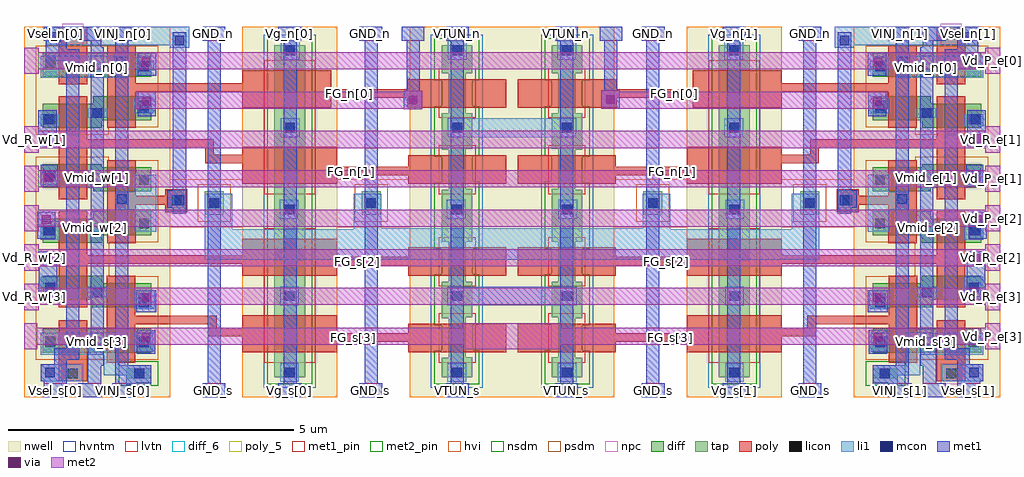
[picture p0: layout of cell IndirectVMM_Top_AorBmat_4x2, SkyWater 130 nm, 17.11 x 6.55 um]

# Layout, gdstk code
import gdstk
lib = gdstk.Library(unit=1e-6, precision=1e-09)
def R(c, l, rs):  # rectangles x0, y0, x1, y1
    for r in rs: c.add(gdstk.rectangle(r[:2], r[2:], *l))
def A(c, l, x, y, w, h, nx, ny, dx, dy):  # array of equal rectangles
    R(c, l, [(x+i*dx, y+j*dy, x+i*dx+w, y+j*dy+h) for i in range(nx) for j in range(ny)])
nwell = (64, 20)
diff_6 = (65, 6)
diff = (65, 20)
tap = (65, 44)
poly_5 = (66, 5)
poly = (66, 20)
licon = (66, 44)
li1 = (67, 20)
mcon = (67, 44)
met1_pin = (68, 16)
met1 = (68, 20)
via = (68, 44)
met2_pin = (69, 16)
met2 = (69, 20)
hvi = (75, 20)
nsdm = (93, 44)
psdm = (94, 20)
npc = (95, 20)
hvntm = (125, 20)
lvtn = (125, 44)

indirectvmm_top_aorbmat_ = lib.new_cell('IndirectVMM_Top_AorBmat_4x2')
R(indirectvmm_top_aorbmat_, nwell, [(-0.12,0.15,2.44,6.65), (3.71,0.15,5.37,6.65), (6.64,0.15,10.23,6.65), (11.5,0.15,13.16,6.65), (14.43,0.15,16.99,6.65)])
R(indirectvmm_top_aorbmat_, diff_6, [(1.09,1.05,1.23,1.2), (15.64,1.05,15.78,1.2), (1.07,3.05,1.21,3.2), (15.66,3.05,15.8,3.2), (1.09,3.92,1.23,4.07), (15.64,3.92,15.78,4.07), (1.09,5.85,1.23,6), (15.64,5.85,15.78,6)])
R(indirectvmm_top_aorbmat_, diff, [(0.21,0.93,2.11,1.35), (14.76,0.93,16.66,1.35), (1.08,1.73,2.11,1.86), (14.76,1.73,15.79,1.86), (0.21,1.86,2.11,2.15), (14.76,1.86,16.66,2.15), (0.21,2.15,1.25,2.28), (15.62,2.15,16.66,2.28), (0.21,2.86,1.25,2.99), (15.62,2.86,16.66,2.99), (0.21,2.99,2.11,3.28), (14.76,2.99,16.66,3.28), (1.09,3.28,2.11,3.41), (14.76,3.28,15.78,3.41), (1.09,3.76,2.11,3.82), (14.76,3.76,15.78,3.82), (0.21,3.82,2.11,4.18), (14.76,3.82,16.66,4.18), (0.21,4.18,1.24,4.24), (15.63,4.18,16.66,4.24), (0.21,4.88,1.24,5.01), (15.63,4.88,16.66,5.01), (0.21,5.01,2.11,5.3), (14.76,5.01,16.66,5.3), (1.09,5.3,2.11,5.43), (14.76,5.3,15.78,5.43), (0.21,5.77,2.11,6.19), (14.76,5.77,16.66,6.19)])
R(indirectvmm_top_aorbmat_, tap, [(1.67,0.48,2.11,0.66), (14.76,0.48,15.2,0.66), (4.27,0.5,4.81,6.32), (7.2,0.5,7.74,0.84), (9.13,0.5,9.67,0.84), (12.06,0.5,12.6,6.32), (7.33,0.84,7.74,0.85), (9.13,0.84,9.54,0.85), (7.33,0.85,7.62,1.54), (9.25,0.85,9.54,1.54), (7.2,1.54,7.62,1.55), (9.25,1.54,9.67,1.55), (7.2,1.55,7.74,2.18), (9.13,1.55,9.67,2.18), (7.33,2.18,7.62,2.88), (9.25,2.18,9.54,2.88), (7.2,2.88,7.74,3.79), (9.13,2.88,9.67,3.79), (3.05,3.35,3.38,3.76), (5.8,3.35,6.13,3.76), (10.74,3.35,11.07,3.76), (13.49,3.35,13.82,3.76), (7.33,3.79,7.74,3.81), (9.13,3.79,9.54,3.81), (7.33,3.81,7.62,4.49), (9.25,3.81,9.54,4.49), (7.2,4.49,7.62,4.51), (9.25,4.49,9.67,4.51), (7.2,4.51,7.74,5.13), (9.13,4.51,9.67,5.13), (7.33,5.13,7.62,5.83), (9.25,5.13,9.54,5.83), (7.2,5.83,7.74,6.32), (9.13,5.83,9.67,6.32)])
R(indirectvmm_top_aorbmat_, poly_5, [(5.58,1.12,5.72,1.27), (11.15,1.12,11.29,1.27), (5.65,2.46,5.79,2.61), (11.08,2.46,11.22,2.61), (5.55,4.04,5.69,4.19), (11.18,4.04,11.32,4.19), (5.52,5.4,5.66,5.55), (11.21,5.4,11.35,5.55)])
R(indirectvmm_top_aorbmat_, poly, [(0.49,0.43,0.99,1.5), (15.88,0.43,16.38,1.5), (1.33,0.76,1.83,1.43), (15.04,0.76,15.54,1.43), (3.71,0.94,5.37,1.12), (6.62,0.94,8.33,1.12), (8.54,0.94,10.25,1.12), (11.5,0.94,13.16,1.12), (3.71,1.12,8.33,1.22), (8.54,1.12,13.16,1.22), (3.1,1.22,8.33,1.27), (8.54,1.22,13.77,1.27), (3.1,1.27,5.37,1.37), (6.62,1.27,8.33,1.44), (8.54,1.27,10.25,1.44), (11.5,1.27,13.77,1.37), (3.1,1.37,3.26,1.43), (3.71,1.37,5.37,1.59), (11.5,1.37,13.16,1.59), (13.61,1.37,13.77,1.43), (1.33,1.43,3.26,1.58), (13.61,1.43,15.54,1.58), (1.33,1.58,1.83,2.28), (15.04,1.58,15.54,2.28), (0.49,1.73,0.99,2.49), (15.88,1.73,16.38,2.49), (3.71,2.28,5.37,2.46), (6.62,2.28,8.33,2.46), (8.54,2.28,10.25,2.46), (11.5,2.28,13.16,2.46), (3.71,2.46,8.33,2.49), (8.54,2.46,13.16,2.49), (0.49,2.49,8.33,2.61), (8.54,2.49,16.38,2.61), (0.49,2.61,5.37,2.64), (6.62,2.61,8.33,2.78), (8.54,2.61,10.25,2.78), (11.5,2.61,16.38,2.64), (0.49,2.64,0.99,3.41), (3.71,2.64,5.37,2.93), (11.5,2.64,13.16,2.93), (15.88,2.64,16.38,3.41), (1.34,2.85,1.84,3.53), (15.03,2.85,15.53,3.53), (2.36,3.39,2.74,3.53), (14.13,3.39,14.51,3.53), (1.34,3.53,2.74,3.68), (14.13,3.53,15.53,3.68), (0.49,3.62,0.99,4.52), (15.88,3.62,16.38,4.52), (1.34,3.68,1.84,4.31), (2.36,3.68,2.74,3.8), (14.13,3.68,14.51,3.8), (15.03,3.68,15.53,4.31), (3.71,3.89,5.37,4.04), (6.62,3.89,8.33,4.04), (8.54,3.89,10.25,4.04), (11.5,3.89,13.16,4.04), (3.71,4.04,8.33,4.19), (8.54,4.04,13.16,4.19), (3.71,4.19,5.37,4.25), (6.62,4.19,8.33,4.39), (8.54,4.19,10.25,4.39), (11.5,4.19,13.16,4.25), (3.06,4.25,5.37,4.4), (11.5,4.25,13.81,4.4), (3.06,4.4,3.21,4.52), (3.71,4.4,5.37,4.54), (11.5,4.4,13.16,4.54), (13.66,4.4,13.81,4.52), (0.49,4.52,3.21,4.67), (13.66,4.52,16.38,4.67), (0.49,4.67,0.99,5.43), (15.88,4.67,16.38,5.43), (1.34,4.88,1.84,5.51), (15.03,4.88,15.53,5.51), (3.71,5.23,5.27,5.4), (6.6,5.23,8.33,5.4), (8.54,5.23,10.27,5.4), (11.6,5.23,13.16,5.4), (3.71,5.4,8.33,5.51), (8.54,5.4,13.16,5.51), (1.34,5.51,8.33,5.55), (8.54,5.51,15.53,5.55), (1.34,5.55,5.27,5.66), (6.6,5.55,8.33,5.73), (8.54,5.55,10.27,5.73), (11.6,5.55,15.53,5.66), (0.49,5.64,0.99,6.65), (15.88,5.64,16.38,6.65), (1.34,5.66,1.84,6.32), (3.71,5.66,5.27,5.88), (11.6,5.66,13.16,5.88), (15.03,5.66,15.53,6.32)])
R(indirectvmm_top_aorbmat_, licon, [(0.65,0.48,0.82,0.65), (1.815,0.48,1.985,0.65), (14.885,0.48,15.055,0.65), (16.05,0.48,16.22,0.65), (4.45,0.5,4.62,0.67), (7.38,0.5,7.55,0.67), (9.32,0.5,9.49,0.67), (12.25,0.5,12.42,0.67), (1.895,1.03,2.065,1.2), (14.805,1.03,14.975,1.2), (0.255,1.04,0.425,1.21), (16.445,1.04,16.615,1.21), (1.895,1.8,2.065,1.97), (14.805,1.8,14.975,1.97), (4.45,1.84,4.62,2.01), (7.38,1.84,7.55,2.01), (9.32,1.84,9.49,2.01), (12.25,1.84,12.42,2.01), (1.075,1.9,1.245,2.07), (15.625,1.9,15.795,2.07), (0.255,1.99,0.425,2.16), (16.445,1.99,16.615,2.16), (0.255,2.99,0.425,3.16), (16.445,2.99,16.615,3.16), (1.9,3.11,2.07,3.28), (14.8,3.11,14.97,3.28), (4.44,3.36,4.61,3.53), (7.37,3.36,7.54,3.53), (9.33,3.36,9.5,3.53), (12.26,3.36,12.43,3.53), (3.13,3.47,3.3,3.64), (5.88,3.47,6.05,3.64), (10.82,3.47,10.99,3.64), (13.57,3.47,13.74,3.64), (2.47,3.52,2.64,3.69), (14.23,3.52,14.4,3.69), (1.9,3.88,2.07,4.05), (14.8,3.88,14.97,4.05), (0.255,3.96,0.425,4.13), (16.445,3.96,16.615,4.13), (4.46,4.79,4.63,4.96), (7.39,4.79,7.56,4.96), (9.31,4.79,9.48,4.96), (12.24,4.79,12.41,4.96), (0.255,4.94,0.425,5.11), (16.445,4.94,16.615,5.11), (1.075,5.05,1.245,5.22), (15.625,5.05,15.795,5.22), (1.9,5.13,2.07,5.3), (14.8,5.13,14.97,5.3), (1.9,5.87,2.07,6.04), (14.8,5.87,14.97,6.04), (0.255,5.93,0.425,6.1), (16.445,5.93,16.615,6.1), (4.46,6.15,4.63,6.32), (7.39,6.15,7.56,6.32), (9.31,6.15,9.48,6.32), (12.24,6.15,12.41,6.32), (0.65,6.43,0.82,6.6), (16.05,6.43,16.22,6.6)])
R(indirectvmm_top_aorbmat_, li1, [(1.67,0.37,2.11,0.54), (14.76,0.37,15.2,0.54), (4.37,0.42,4.7,0.75), (7.3,0.42,7.63,0.75), (9.24,0.42,9.57,0.75), (12.17,0.42,12.5,0.75), (0.17,0.43,0.9,0.73), (15.97,0.43,16.7,0.73), (1.28,0.54,2.11,0.71), (14.76,0.54,15.59,0.71), (1.28,0.71,1.53,0.9), (15.34,0.71,15.59,0.9), (0.17,0.9,1.53,1.28), (15.34,0.9,16.7,1.28), (1.81,0.95,2.15,1.28), (14.72,0.95,15.06,1.28), (1.28,1.28,1.53,1.29), (15.34,1.28,15.59,1.29), (1.81,1.7,2.16,1.73), (14.71,1.7,15.06,1.73), (1.81,1.73,2.17,2.03), (14.7,1.73,15.06,2.03), (4.37,1.76,4.7,2.09), (7.3,1.76,9.57,2.09), (12.17,1.76,12.5,2.09), (0.99,1.9,1.33,2.09), (15.54,1.9,15.88,2.09), (0.17,1.91,0.51,2.26), (16.36,1.91,16.7,2.26), (3.05,2.56,13.82,3.1), (0.17,2.91,0.51,3.24), (16.36,2.91,16.7,3.24), (1.82,3.05,2.2,3.44), (14.67,3.05,15.05,3.44), (3.05,3.1,3.53,3.72), (5.66,3.1,11.21,3.11), (13.34,3.1,13.82,3.72), (5.66,3.11,6.14,3.72), (10.73,3.11,11.21,3.72), (4.36,3.28,4.69,3.61), (7.29,3.28,7.62,3.61), (9.25,3.28,9.58,3.61), (12.18,3.28,12.51,3.61), (2.39,3.4,2.72,3.78), (14.15,3.4,14.48,3.78), (1.48,3.44,2.2,3.75), (14.67,3.44,15.39,3.75), (1.82,3.75,2.2,4.05), (14.67,3.75,15.05,4.05), (0.17,3.88,0.51,4.13), (16.36,3.88,16.7,4.13), (4.38,4.71,4.71,5.04), (7.31,4.71,9.56,5.04), (12.16,4.71,12.49,5.04), (0.17,4.9,0.51,5.11), (16.36,4.9,16.7,5.11), (0.99,5.05,1.34,5.22), (15.53,5.05,15.88,5.22), (1.82,5.13,2.15,5.17), (14.72,5.13,15.05,5.17), (1.82,5.17,2.19,5.34), (14.68,5.17,15.05,5.34), (1.82,5.34,2.15,5.39), (14.72,5.34,15.05,5.39), (0.17,5.75,1.67,6.14), (15.2,5.75,16.7,6.14), (1.84,5.79,2.11,5.88), (14.76,5.79,15.03,5.88), (1.84,5.88,2.16,6.05), (14.71,5.88,15.03,6.05), (1.84,6.05,2.11,6.12), (14.76,6.05,15.03,6.12), (4.38,6.07,4.71,6.4), (7.31,6.07,7.64,6.4), (9.23,6.07,9.56,6.4), (12.16,6.07,12.49,6.4), (2.44,6.28,2.78,6.32), (14.09,6.28,14.43,6.32), (0.27,6.32,2.78,6.65), (14.09,6.32,16.6,6.65)])
R(indirectvmm_top_aorbmat_, mcon, [(1.815,0.48,1.985,0.65), (14.885,0.48,15.055,0.65), (0.25,0.5,0.42,0.67), (4.46,0.5,4.63,0.67), (7.39,0.5,7.56,0.67), (9.31,0.5,9.48,0.67), (12.24,0.5,12.41,0.67), (16.45,0.5,16.62,0.67), (1.895,1.04,2.065,1.21), (14.805,1.04,14.975,1.21), (1.895,1.73,2.065,1.9), (14.805,1.73,14.975,1.9), (4.46,1.84,4.63,2.01), (7.39,1.84,7.56,2.01), (9.31,1.84,9.48,2.01), (12.24,1.84,12.41,2.01), (1.08,1.9,1.25,2.07), (15.62,1.9,15.79,2.07), (0.255,1.99,0.425,2.16), (16.445,1.99,16.615,2.16), (0.23,2.99,0.4,3.16), (16.47,2.99,16.64,3.16), (4.46,3.36,4.63,3.53), (7.39,3.36,7.56,3.53), (9.31,3.36,9.48,3.53), (12.24,3.36,12.41,3.53), (3.13,3.47,3.3,3.64), (5.88,3.47,6.05,3.64), (10.82,3.47,10.99,3.64), (13.57,3.47,13.74,3.64), (2.52,3.52,2.69,3.69), (14.18,3.52,14.35,3.69), (1.51,3.54,1.68,3.71), (15.19,3.54,15.36,3.71), (0.24,3.95,0.41,4.12), (16.46,3.95,16.63,4.12), (4.46,4.79,4.63,4.96), (7.39,4.79,7.56,4.96), (9.31,4.79,9.48,4.96), (12.24,4.79,12.41,4.96), (0.225,4.94,0.395,5.11), (16.475,4.94,16.645,5.11), (1.08,5.05,1.25,5.22), (15.62,5.05,15.79,5.22), (1.9,5.18,2.07,5.35), (14.8,5.18,14.97,5.35), (1.9,5.87,2.07,6.04), (14.8,5.87,14.97,6.04), (1.5,5.95,1.67,6.12), (15.2,5.95,15.37,6.12), (4.46,6.15,4.63,6.32), (7.39,6.15,7.56,6.32), (9.31,6.15,9.48,6.32), (12.24,6.15,12.41,6.32), (2.52,6.32,2.69,6.49), (14.18,6.32,14.35,6.49), (0.36,6.38,0.53,6.55), (16.34,6.38,16.51,6.55)])
R(indirectvmm_top_aorbmat_, met1_pin, [(0.23,0.15,0.63,0.4), (0.23,0.15,0.63,0.4), (0.83,0.15,1.23,0.4), (0.83,0.15,1.23,0.4), (1.43,0.15,1.83,0.4), (1.43,0.15,1.83,0.4), (3.01,0.15,3.41,0.4), (4.34,0.15,4.74,0.4), (4.34,0.15,4.74,0.4), (5.76,0.15,6.16,0.4), (7.28,0.15,7.68,0.4), (9.19,0.15,9.59,0.4), (10.71,0.15,11.11,0.4), (12.13,0.15,12.53,0.4), (12.13,0.15,12.53,0.4), (13.46,0.15,13.86,0.4), (15.04,0.15,15.44,0.4), (15.04,0.15,15.44,0.4), (15.64,0.15,16.04,0.4), (15.64,0.15,16.04,0.4), (16.24,0.15,16.64,0.4), (16.24,0.15,16.64,0.4), (0.23,6.4,0.63,6.65), (0.23,6.4,0.63,6.65), (0.83,6.4,1.23,6.65), (0.83,6.4,1.23,6.65), (1.43,6.4,1.83,6.65), (1.43,6.4,1.83,6.65), (3.01,6.4,3.41,6.65), (4.34,6.4,4.74,6.65), (4.34,6.4,4.74,6.65), (5.76,6.4,6.16,6.65), (6.5,6.4,6.9,6.65), (7.28,6.4,7.68,6.65), (9.19,6.4,9.59,6.65), (9.97,6.4,10.37,6.65), (10.71,6.4,11.11,6.65), (12.13,6.4,12.53,6.65), (12.13,6.4,12.53,6.65), (13.46,6.4,13.86,6.65), (15.04,6.4,15.44,6.65), (15.04,6.4,15.44,6.65), (15.64,6.4,16.04,6.65), (15.64,6.4,16.04,6.65), (16.24,6.4,16.64,6.65), (16.24,6.4,16.64,6.65)])
A(indirectvmm_top_aorbmat_, met1, 0.23, 6.4, 0.4, 0.25, 3, 1, 0.6, 0)
A(indirectvmm_top_aorbmat_, met1, 15.04, 6.4, 0.4, 0.25, 3, 1, 0.6, 0)
R(indirectvmm_top_aorbmat_, met1, [(0.23,0.15,0.63,0.43), (0.83,0.15,1.23,0.4), (1.43,0.15,1.83,0.4), (3.01,0.15,3.41,0.4), (4.34,0.15,4.74,0.4), (5.76,0.15,6.16,0.4), (7.28,0.15,7.68,0.4), (9.19,0.15,9.59,0.4), (10.71,0.15,11.11,0.4), (12.13,0.15,12.53,0.4), (13.46,0.15,13.86,0.4), (15.04,0.15,15.44,0.4), (15.64,0.15,16.04,0.4), (16.24,0.15,16.64,0.43), (1,0.4,1.23,0.7), (1.48,0.4,2.11,0.71), (3.1,0.4,3.33,6.4), (4.43,0.4,4.66,6.4), (5.85,0.4,6.08,6.4), (7.36,0.4,7.59,6.4), (9.28,0.4,9.51,6.4), (10.79,0.4,11.02,6.4), (12.21,0.4,12.44,6.4), (13.54,0.4,13.77,6.4), (14.76,0.4,15.39,0.71), (15.64,0.4,15.87,0.7), (0.17,0.43,0.63,0.73), (16.24,0.43,16.7,0.73), (1,0.7,1.28,1.08), (15.59,0.7,15.87,1.08), (1.48,0.71,1.71,5.89), (15.16,0.71,15.39,5.89), (0.41,0.73,0.63,0.81), (16.24,0.73,16.46,0.81), (0.41,0.81,0.85,1.01), (16.02,0.81,16.46,1.01), (1.86,0.91,2.18,1.33), (14.69,0.91,15.01,1.33), (0.62,1.01,0.85,6.05), (16.02,1.01,16.25,6.05), (1.05,1.08,1.28,6.29), (15.59,1.08,15.82,6.29), (1.85,1.64,2.2,2.03), (14.67,1.64,15.02,2.03), (0.14,1.86,0.46,2.71), (16.41,1.86,16.73,2.71), (0.11,2.93,0.43,3.4), (16.44,2.93,16.76,3.4), (2.49,3.37,2.72,3.47), (14.15,3.37,14.38,3.47), (2.39,3.47,2.72,3.78), (14.15,3.47,14.48,3.78), (2.49,3.78,2.72,6.55), (14.15,3.78,14.38,6.55), (0.17,3.84,0.47,4.23), (16.4,3.84,16.7,4.23), (0.13,4.55,0.45,5.18), (16.42,4.55,16.74,5.18), (1.87,5.08,2.19,5.51), (14.68,5.08,15,5.51), (6.54,5.2,6.86,5.52), (10,5.21,10.32,5.53), (6.59,5.52,6.82,6.4), (10.05,5.53,10.28,6.4), (1.87,5.79,2.2,6.19), (14.67,5.79,15,6.19), (1.46,5.89,1.71,6.16), (15.16,5.89,15.41,6.16), (0.26,6.05,0.85,6.25), (16.02,6.05,16.61,6.25), (1.48,6.16,1.71,6.4), (15.16,6.16,15.39,6.4), (0.26,6.25,0.63,6.4), (16.24,6.25,16.61,6.4), (1.05,6.29,1.23,6.4), (15.64,6.29,15.82,6.4), (3.01,6.4,3.41,6.65), (4.34,6.4,4.74,6.65), (5.76,6.4,6.16,6.65), (6.5,6.4,6.9,6.65), (7.28,6.4,7.68,6.65), (9.19,6.4,9.59,6.65), (9.97,6.4,10.37,6.65), (10.71,6.4,11.11,6.65), (12.13,6.4,12.53,6.65), (13.46,6.4,13.86,6.65)])
R(indirectvmm_top_aorbmat_, via, [(1.945,1.125,2.095,1.275), (14.775,1.125,14.925,1.275), (1.965,1.825,2.115,1.975), (14.755,1.825,14.905,1.975), (0.225,2.505,0.375,2.655), (16.495,2.505,16.645,2.655), (0.195,3.195,0.345,3.345), (16.525,3.195,16.675,3.345), (0.235,3.925,0.385,4.075), (16.485,3.925,16.635,4.075), (0.215,4.615,0.365,4.765), (16.505,4.615,16.655,4.765), (1.955,5.265,2.105,5.415), (14.765,5.265,14.915,5.415), (6.625,5.285,6.775,5.435), (10.085,5.295,10.235,5.445), (1.945,5.955,2.095,6.105), (14.775,5.955,14.925,6.105)])
A(indirectvmm_top_aorbmat_, met2_pin, 16.73, 0.99, 0.26, 0.46, 1, 6, 0, 0.69)
A(indirectvmm_top_aorbmat_, met2_pin, -0.12, 1.68, 0.26, 0.46, 1, 5, 0, 0.69)
R(indirectvmm_top_aorbmat_, met2_pin, [(-0.12,0.99,0.11,1.45), (16.76,0.99,16.99,1.45), (-0.12,5.82,0.14,6.28), (16.73,5.82,16.99,6.28)])
A(indirectvmm_top_aorbmat_, met2, -0.12, 2.45, 17.11, 0.3, 1, 4, 0, 0.69)
R(indirectvmm_top_aorbmat_, met2, [(-0.12,0.99,0.11,1.07), (7.57,0.99,9.3,1.07), (16.73,0.99,16.99,1.07), (-0.12,1.07,16.99,1.37), (-0.12,1.37,0.11,1.45), (7.56,1.37,9.31,1.45), (16.73,1.37,16.99,1.45), (-0.12,1.68,0.14,1.77), (16.73,1.68,16.99,1.77), (-0.12,1.77,16.99,2.07), (-0.12,2.07,0.14,2.14), (16.73,2.07,16.99,2.14), (-0.12,2.37,0.14,2.45), (16.73,2.37,16.99,2.45), (-0.12,2.75,0.14,2.83), (16.73,2.75,16.99,2.83), (-0.12,3.06,0.14,3.14), (16.73,3.06,16.99,3.14), (-0.12,3.44,0.14,3.52), (16.73,3.44,16.99,3.52), (-0.12,3.75,0.14,3.83), (16.73,3.75,16.99,3.83), (-0.12,4.13,0.14,4.21), (16.73,4.13,16.99,4.21), (-0.12,4.44,0.14,4.52), (16.73,4.44,16.99,4.52), (-0.12,4.82,0.14,4.9), (16.73,4.82,16.99,4.9), (6.54,5.2,6.86,5.21), (1.84,5.21,6.86,5.51), (10,5.21,15.02,5.51), (6.54,5.51,6.86,5.52), (10,5.51,10.32,5.53), (-0.12,5.82,0.14,5.9), (16.73,5.82,16.99,5.9), (-0.12,5.9,16.99,6.2), (-0.12,6.2,0.14,6.28), (16.73,6.2,16.99,6.28)])
R(indirectvmm_top_aorbmat_, hvi, [(-0.12,0.15,2.44,3.135), (3.71,0.15,5.37,3.135), (6.64,0.15,10.23,3.135), (11.5,0.15,13.16,3.135), (14.43,0.15,16.99,3.135), (-0.12,3.135,16.99,3.975), (-0.12,3.975,2.44,6.65), (3.71,3.975,5.37,6.65), (6.64,3.975,10.23,6.65), (11.5,3.975,13.16,6.65), (14.43,3.975,16.99,6.65)])
R(indirectvmm_top_aorbmat_, nsdm, [(1.545,0.355,2.235,0.785), (14.635,0.355,15.325,0.785), (4.145,0.375,4.935,6.445), (7.075,0.375,7.865,0.965), (9.005,0.375,9.795,0.965), (11.935,0.375,12.725,6.445), (7.205,0.965,7.865,0.975), (9.005,0.965,9.665,0.975), (7.205,0.975,7.745,1.415), (9.125,0.975,9.665,1.415), (7.075,1.415,7.745,1.425), (9.125,1.415,9.795,1.425), (7.075,1.425,7.865,2.305), (9.005,1.425,9.795,2.305), (7.205,2.305,7.745,2.755), (9.125,2.305,9.665,2.755), (7.075,2.755,7.865,3.915), (9.005,2.755,9.795,3.915), (7.205,3.915,7.865,3.935), (9.005,3.915,9.665,3.935), (7.205,3.935,7.745,4.365), (9.125,3.935,9.665,4.365), (7.075,4.365,7.745,4.385), (9.125,4.365,9.795,4.385), (7.075,4.385,7.865,5.255), (9.005,4.385,9.795,5.255), (7.205,5.255,7.745,5.705), (9.125,5.255,9.665,5.705), (7.075,5.705,7.865,6.445), (9.005,5.705,9.795,6.445)])
R(indirectvmm_top_aorbmat_, psdm, [(0.085,0.805,2.235,2.275), (14.635,0.805,16.785,2.275), (0.085,2.275,1.375,2.865), (15.495,2.275,16.785,2.865), (0.085,2.865,2.235,4.305), (14.635,2.865,16.785,4.305), (2.925,3.225,3.505,3.885), (5.675,3.225,6.255,3.885), (10.615,3.225,11.195,3.885), (13.365,3.225,13.945,3.885), (0.085,4.305,1.365,4.365), (15.505,4.305,16.785,4.365), (0.085,4.755,1.365,4.885), (15.505,4.755,16.785,4.885), (0.085,4.885,2.235,6.315), (14.635,4.885,16.785,6.315)])
R(indirectvmm_top_aorbmat_, npc, [(0.55,0.38,0.92,0.75), (15.95,0.38,16.32,0.75), (2.37,3.42,2.74,3.79), (14.13,3.42,14.5,3.79), (0.55,6.33,0.92,6.7), (15.95,6.33,16.32,6.7)])
R(indirectvmm_top_aorbmat_, hvntm, [(4.085,0.315,4.995,6.505), (7.015,0.315,7.925,6.505), (8.945,0.315,9.855,6.505), (11.875,0.315,12.785,6.505)])
R(indirectvmm_top_aorbmat_, lvtn, [(4.09,0.76,4.99,3.11), (7.15,0.76,7.8,1.62), (9.07,0.76,9.72,1.62), (11.88,0.76,12.78,3.11), (7.15,2.1,7.8,2.96), (9.07,2.1,9.72,2.96), (4.09,3.71,4.99,6.06), (7.15,3.71,7.8,4.57), (9.07,3.71,9.72,4.57), (11.88,3.71,12.78,6.06), (7.15,5.05,7.8,5.91), (9.07,5.05,9.72,5.91)])
indirectvmm_top_aorbmat_.add(gdstk.Label('FG_n[0]', (5.59,5.475), layer=66, texttype=5))
indirectvmm_top_aorbmat_.add(gdstk.Label('FG_n[1]', (5.62,4.115), layer=66, texttype=5))
indirectvmm_top_aorbmat_.add(gdstk.Label('FG_s[2]', (5.72,2.535), layer=66, texttype=5))
indirectvmm_top_aorbmat_.add(gdstk.Label('FG_s[3]', (5.65,1.195), layer=66, texttype=5))
indirectvmm_top_aorbmat_.add(gdstk.Label('Vmid_n[0]', (1.16,5.925), layer=65, texttype=6))
indirectvmm_top_aorbmat_.add(gdstk.Label('Vmid_w[1]', (1.16,3.995), layer=65, texttype=6))
indirectvmm_top_aorbmat_.add(gdstk.Label('Vmid_w[2]', (1.14,3.125), layer=65, texttype=6))
indirectvmm_top_aorbmat_.add(gdstk.Label('Vmid_s[3]', (1.16,1.125), layer=65, texttype=6))
indirectvmm_top_aorbmat_.add(gdstk.Label('FG_n[0]', (11.28,5.475), layer=66, texttype=5))
indirectvmm_top_aorbmat_.add(gdstk.Label('FG_n[1]', (11.25,4.115), layer=66, texttype=5))
indirectvmm_top_aorbmat_.add(gdstk.Label('FG_s[2]', (11.15,2.535), layer=66, texttype=5))
indirectvmm_top_aorbmat_.add(gdstk.Label('FG_s[3]', (11.22,1.195), layer=66, texttype=5))
indirectvmm_top_aorbmat_.add(gdstk.Label('Vmid_n[0]', (15.71,5.925), layer=65, texttype=6))
indirectvmm_top_aorbmat_.add(gdstk.Label('Vmid_e[1]', (15.71,3.995), layer=65, texttype=6))
indirectvmm_top_aorbmat_.add(gdstk.Label('Vmid_e[2]', (15.73,3.125), layer=65, texttype=6))
indirectvmm_top_aorbmat_.add(gdstk.Label('Vmid_s[3]', (15.71,1.125), layer=65, texttype=6))
indirectvmm_top_aorbmat_.add(gdstk.Label('Vsel_s[0]', (0.43,0.275), layer=68, texttype=5))
indirectvmm_top_aorbmat_.add(gdstk.Label('Vsel_n[0]', (0.43,6.525), layer=68, texttype=5))
indirectvmm_top_aorbmat_.add(gdstk.Label('Vs_s[0]', (1.03,0.275), layer=68, texttype=5))
indirectvmm_top_aorbmat_.add(gdstk.Label('Vs_n[0]', (1.03,6.525), layer=68, texttype=5))
indirectvmm_top_aorbmat_.add(gdstk.Label('VINJ_s[0]', (1.63,0.275), layer=68, texttype=5))
indirectvmm_top_aorbmat_.add(gdstk.Label('VINJ_n[0]', (1.63,6.525), layer=68, texttype=5))
indirectvmm_top_aorbmat_.add(gdstk.Label('Vg_s[0]', (4.54,0.275), layer=68, texttype=5))
indirectvmm_top_aorbmat_.add(gdstk.Label('Vg_n[0]', (4.54,6.525), layer=68, texttype=5))
indirectvmm_top_aorbmat_.add(gdstk.Label('Vg_s[1]', (12.33,0.275), layer=68, texttype=5))
indirectvmm_top_aorbmat_.add(gdstk.Label('Vg_n[1]', (12.33,6.525), layer=68, texttype=5))
indirectvmm_top_aorbmat_.add(gdstk.Label('VINJ_s[1]', (15.24,0.275), layer=68, texttype=5))
indirectvmm_top_aorbmat_.add(gdstk.Label('VINJ_n[1]', (15.24,6.525), layer=68, texttype=5))
indirectvmm_top_aorbmat_.add(gdstk.Label('Vs_s[1]', (15.84,0.275), layer=68, texttype=5))
indirectvmm_top_aorbmat_.add(gdstk.Label('Vs_n[1]', (15.84,6.525), layer=68, texttype=5))
indirectvmm_top_aorbmat_.add(gdstk.Label('Vsel_s[1]', (16.44,0.275), layer=68, texttype=5))
indirectvmm_top_aorbmat_.add(gdstk.Label('Vsel_n[1]', (16.44,6.525), layer=68, texttype=5))
indirectvmm_top_aorbmat_.add(gdstk.Label('Vd_P_e[3]', (16.86,1.22), layer=69, texttype=5))
indirectvmm_top_aorbmat_.add(gdstk.Label('Vd_P_e[3]', (16.875,1.22), layer=69, texttype=5))
indirectvmm_top_aorbmat_.add(gdstk.Label('Vd_P_w[3]', (-0.005,1.22), layer=69, texttype=5))
indirectvmm_top_aorbmat_.add(gdstk.Label('Vd_R_e[3]', (16.86,1.91), layer=69, texttype=5))
indirectvmm_top_aorbmat_.add(gdstk.Label('Vd_R_w[3]', (0.01,1.91), layer=69, texttype=5))
indirectvmm_top_aorbmat_.add(gdstk.Label('Vd_R_e[2]', (16.86,2.6), layer=69, texttype=5))
indirectvmm_top_aorbmat_.add(gdstk.Label('Vd_R_w[2]', (0.01,2.6), layer=69, texttype=5))
indirectvmm_top_aorbmat_.add(gdstk.Label('Vd_P_e[2]', (16.86,3.29), layer=69, texttype=5))
indirectvmm_top_aorbmat_.add(gdstk.Label('Vd_P_w[2]', (0.01,3.29), layer=69, texttype=5))
indirectvmm_top_aorbmat_.add(gdstk.Label('Vd_P_e[1]', (16.86,3.98), layer=69, texttype=5))
indirectvmm_top_aorbmat_.add(gdstk.Label('Vd_P_w[1]', (0.01,3.98), layer=69, texttype=5))
indirectvmm_top_aorbmat_.add(gdstk.Label('Vd_R_e[1]', (16.86,4.67), layer=69, texttype=5))
indirectvmm_top_aorbmat_.add(gdstk.Label('Vd_R_w[1]', (0.01,4.67), layer=69, texttype=5))
indirectvmm_top_aorbmat_.add(gdstk.Label('Vd_P_e[0]', (16.86,6.05), layer=69, texttype=5))
indirectvmm_top_aorbmat_.add(gdstk.Label('Vd_P_w[0]', (0.01,6.05), layer=69, texttype=5))
indirectvmm_top_aorbmat_.add(gdstk.Label('Vs_s', (15.84,0.275), layer=68, texttype=5))
indirectvmm_top_aorbmat_.add(gdstk.Label('Vs_n', (15.84,6.525), layer=68, texttype=5))
indirectvmm_top_aorbmat_.add(gdstk.Label('Vs_s', (1.03,0.275), layer=68, texttype=5))
indirectvmm_top_aorbmat_.add(gdstk.Label('Vs_n', (1.03,6.525), layer=68, texttype=5))
indirectvmm_top_aorbmat_.add(gdstk.Label('GND_s', (10.91,0.275), layer=68, texttype=5))
indirectvmm_top_aorbmat_.add(gdstk.Label('GND_s', (13.66,0.275), layer=68, texttype=5))
indirectvmm_top_aorbmat_.add(gdstk.Label('GND_n', (13.66,6.525), layer=68, texttype=5))
indirectvmm_top_aorbmat_.add(gdstk.Label('GND_n', (10.91,6.525), layer=68, texttype=5))
indirectvmm_top_aorbmat_.add(gdstk.Label('GND_s', (5.96,0.275), layer=68, texttype=5))
indirectvmm_top_aorbmat_.add(gdstk.Label('GND_s', (3.21,0.275), layer=68, texttype=5))
indirectvmm_top_aorbmat_.add(gdstk.Label('GND_n', (3.21,6.525), layer=68, texttype=5))
indirectvmm_top_aorbmat_.add(gdstk.Label('GND_n', (5.96,6.525), layer=68, texttype=5))
indirectvmm_top_aorbmat_.add(gdstk.Label('Vg_s', (12.33,0.275), layer=68, texttype=5))
indirectvmm_top_aorbmat_.add(gdstk.Label('Vg_n', (12.33,6.525), layer=68, texttype=5))
indirectvmm_top_aorbmat_.add(gdstk.Label('Vg_s', (4.54,0.275), layer=68, texttype=5))
indirectvmm_top_aorbmat_.add(gdstk.Label('Vg_n', (4.54,6.525), layer=68, texttype=5))
indirectvmm_top_aorbmat_.add(gdstk.Label('VTUN_s', (9.39,0.275), layer=68, texttype=5))
indirectvmm_top_aorbmat_.add(gdstk.Label('VTUN_n', (9.39,6.525), layer=68, texttype=5))
indirectvmm_top_aorbmat_.add(gdstk.Label('VTUN_s', (7.48,0.275), layer=68, texttype=5))
indirectvmm_top_aorbmat_.add(gdstk.Label('VTUN_n', (7.48,6.525), layer=68, texttype=5))
indirectvmm_top_aorbmat_.add(gdstk.Label('VINJ_s', (15.24,0.275), layer=68, texttype=5))
indirectvmm_top_aorbmat_.add(gdstk.Label('VINJ_n', (15.24,6.525), layer=68, texttype=5))
indirectvmm_top_aorbmat_.add(gdstk.Label('VINJ_s', (1.63,0.275), layer=68, texttype=5))
indirectvmm_top_aorbmat_.add(gdstk.Label('VINJ_n', (1.63,6.525), layer=68, texttype=5))
indirectvmm_top_aorbmat_.add(gdstk.Label('Vsel_s', (16.44,0.275), layer=68, texttype=5))
indirectvmm_top_aorbmat_.add(gdstk.Label('Vsel_n', (16.44,6.525), layer=68, texttype=5))
indirectvmm_top_aorbmat_.add(gdstk.Label('Vsel_s', (0.43,0.275), layer=68, texttype=5))
indirectvmm_top_aorbmat_.add(gdstk.Label('Vsel_n', (0.43,6.525), layer=68, texttype=5))
indirectvmm_top_aorbmat_.add(gdstk.Label('fgmem_n[0]', (6.7,6.525), layer=68, texttype=5))
indirectvmm_top_aorbmat_.add(gdstk.Label('fgmem_n[1]', (10.17,6.525), layer=68, texttype=5))

lib.write_gds('IndirectVMM_Top_AorBmat_4x2.gds')
